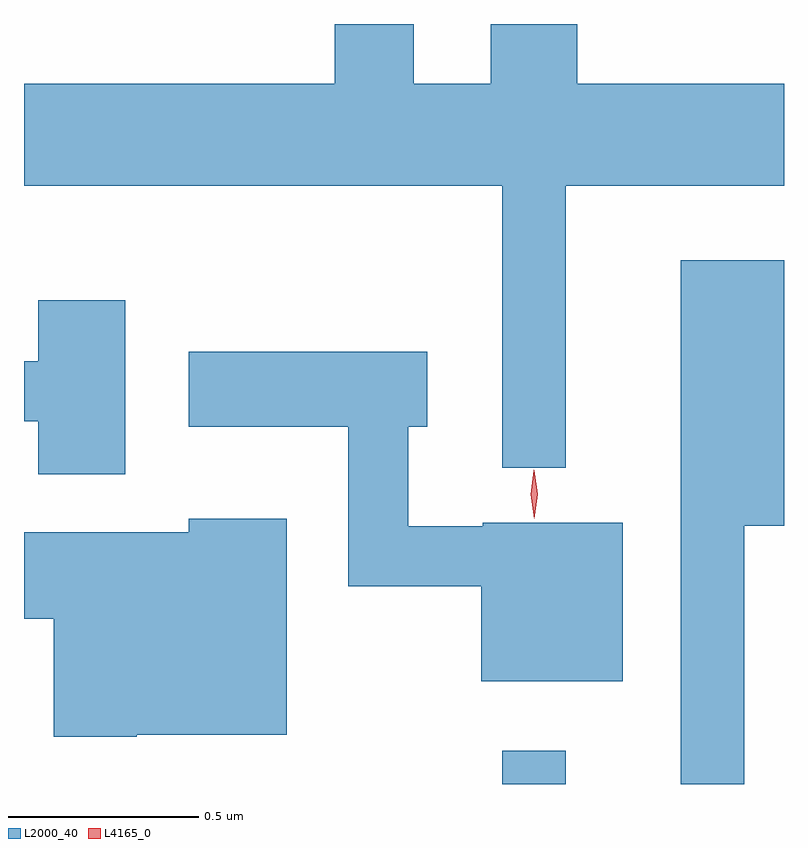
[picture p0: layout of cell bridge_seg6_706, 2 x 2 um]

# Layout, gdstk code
import gdstk
lib = gdstk.Library(unit=1e-6, precision=1e-09)
def R(c, l, rs):  # rectangles x0, y0, x1, y1
    for r in rs: c.add(gdstk.rectangle(r[:2], r[2:], *l))
def P(c, l, *ps):  # polygons
    for p in ps: c.add(gdstk.Polygon(p, *l))
L2000_40 = (2000, 40)
L4165_0 = (4165, 0)

bridge_seg6_706 = lib.new_cell('bridge_seg6_706')
R(bridge_seg6_706, L2000_40, [(210.541,1637.261,210.709,1637.348)])
P(bridge_seg6_706, L2000_40, [(210.709,1638.836),(211.283,1638.836),(211.283,1639.104),(210.739,1639.104),(210.739,1639.261),(210.511,1639.261),(210.511,1639.104),(210.309,1639.104),(210.309,1639.261),(210.101,1639.261),(210.101,1639.104),(209.283,1639.104),(209.283,1638.836),(210.541,1638.836),(210.541,1638.093),(210.709,1638.093)],
  [(211.179,1637.941),(211.283,1637.941),(211.283,1638.639),(211.011,1638.639),(211.011,1637.261),(211.179,1637.261)],
  [(209.549,1638.534),(209.321,1638.534),(209.321,1638.374),(209.283,1638.374),(209.283,1638.216),(209.321,1638.216),(209.321,1638.076),(209.549,1638.076)],
  [(210.859,1637.949),(210.49,1637.949),(210.49,1637.939),(210.294,1637.939),(210.294,1638.201),(210.344,1638.201),(210.344,1638.399),(209.716,1638.399),(209.716,1638.201),(210.136,1638.201),(210.136,1637.781),(210.486,1637.781),(210.486,1637.531),(210.859,1637.531)],
  [(209.58,1637.391),(209.974,1637.391),(209.974,1637.959),(209.716,1637.959),(209.716,1637.924),(209.283,1637.924),(209.283,1637.696),(209.361,1637.696),(209.361,1637.386),(209.58,1637.386)])
P(bridge_seg6_706, L4165_0, [(210.626,1637.959),(210.626,1637.959),(210.616,1638.023),(210.625,1638.087),(210.625,1638.088),(210.626,1638.087),(210.635,1638.023),(210.626,1637.959)])

lib.write_gds('bridge_seg6_706.gds')
